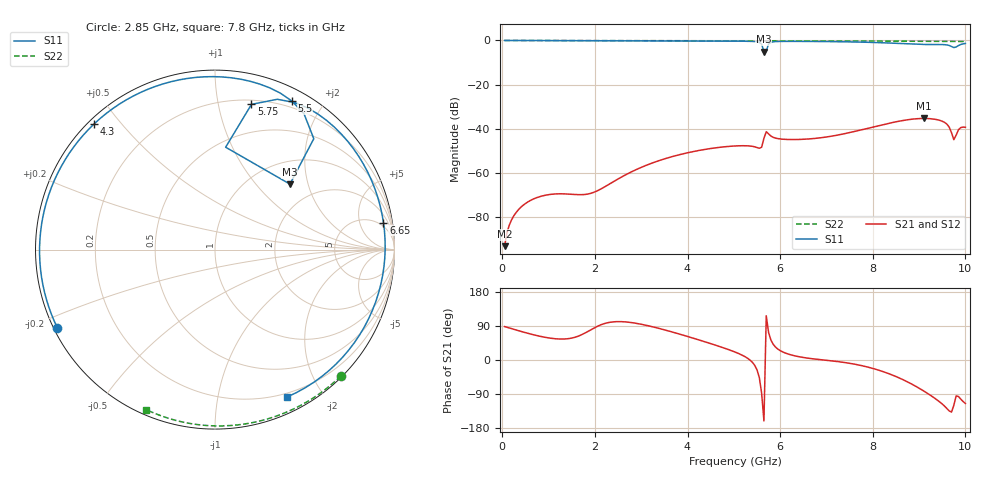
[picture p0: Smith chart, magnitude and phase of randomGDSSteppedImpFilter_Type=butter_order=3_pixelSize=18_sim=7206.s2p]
! freq	dB(S11)	phase(S11)	dB(S12)	phase(S12)
!  dB(S21)	phase(S21)	dB(S22)	phase(S22)
!S-par simulation data
#  GHz  S  DB  R 50
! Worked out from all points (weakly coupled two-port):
!   200 points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, 50 MHz to 10 GHz, reference 50 ohm
!   highest |S21| = -35.40 dB at 9.1 GHz (marker M1); lowest = -93.4 dB at 50 MHz (marker M2)
!   lowest |S11| = -5.1 dB at 5.65 GHz (marker M3), VSWR 3.49, Z = 73.3 + j77.2 ohm
!   |S11| at or under -10 dB: nowhere
!   |S22| runs from -0.5 to 0.0 dB; largest |S21 - S12| = 0
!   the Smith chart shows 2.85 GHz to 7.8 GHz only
!   S11 on the Smith chart (normalised r, x): 2.85 GHz: 0.01, -0.23; 4.3 GHz: 0.02, +0.43; 5.5 GHz: 0.13, +1.64; 5.75 GHz: 0.24, +1.25; 6.65 GHz: 4, +11; 7.8 GHz: 0.16, -1.59
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0.05  -0.00 -2.9  -93.37 88.2  -93.37 88.2  -0.00 -0.8
0.95  -0.07 -54.6  -70.16 59.3  -70.16 59.3  -0.02 -15.4
1.75  -0.12 -97.9  -69.96 68.9  -69.96 68.9  -0.04 -28.1
2.85  -0.17 -153.7  -59.02 97.6  -59.02 97.6  -0.06 -45.1
3.4  -0.20 179.1  -54.43 82.9  -54.43 82.9  -0.07 -53.4
4.3  -0.25 133.7  -49.72 51.0  -49.72 51.0  -0.09 -66.5
5.05  -0.31 93.3  -47.86 19.8  -47.86 19.8  -0.12 -77.1
5.5  -0.61 62.6  -48.57 -25.9  -48.57 -25.9  -0.14 -83.3
5.65  -5.12 41.1  -44.41 -160.9  -44.41 -160.9  -0.14 -85.3
5.7  -4.83 84.1  -41.43 116.8  -41.43 116.8  -0.15 -86.0
5.75  -1.57 75.9  -42.44 72.8  -42.44 72.8  -0.15 -86.7
6.05  -0.42 45.8  -44.81 21.6  -44.81 21.6  -0.16 -90.7
6.65  -0.44 9.1  -44.65 4.0  -44.65 4.0  -0.19 -98.6
6.7  -0.45 6.1  -44.56 3.2  -44.56 3.2  -0.19 -99.3
7.25  -0.56 -27.3  -42.91 -4.2  -42.91 -4.2  -0.23 -106.3
7.8  -0.78 -63.9  -40.33 -16.0  -40.33 -16.0  -0.26 -113.3
8.35  -1.16 -108.5  -37.59 -36.2  -37.59 -36.2  -0.31 -120.2
8.8  -1.60 -157.2  -35.86 -60.9  -35.86 -60.9  -0.35 -125.8
9.1  -1.82 162.0  -35.40 -81.7  -35.40 -81.7  -0.38 -129.5
9.5  -1.86 101.6  -36.66 -116.2  -36.66 -116.2  -0.42 -134.4
9.75  -3.21 70.6  -45.03 -119.7  -45.03 -119.7  -0.44 -137.5
10  -1.35 48.6  -39.39 -114.7  -39.39 -114.7  -0.47 -140.6
